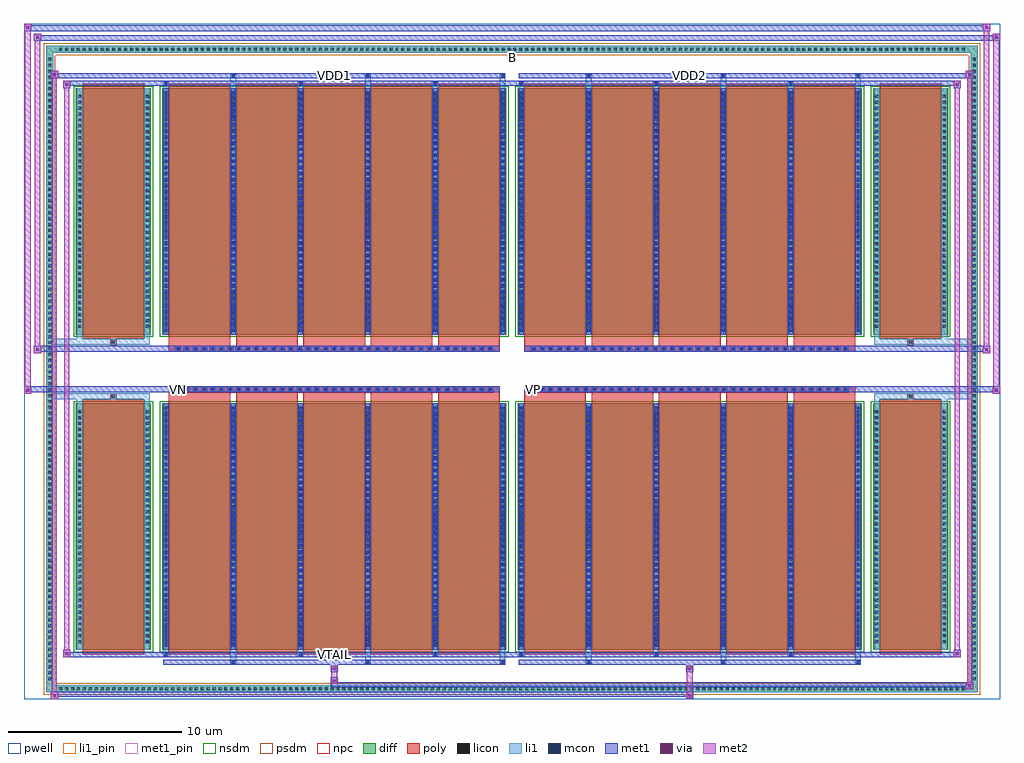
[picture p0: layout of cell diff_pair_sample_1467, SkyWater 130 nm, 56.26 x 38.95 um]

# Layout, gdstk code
import gdstk
lib = gdstk.Library(unit=1e-6, precision=5e-09)
def R(c, l, rs):  # rectangles x0, y0, x1, y1
    for r in rs: c.add(gdstk.rectangle(r[:2], r[2:], *l))
def A(c, l, x, y, w, h, nx, ny, dx, dy):  # array of equal rectangles
    R(c, l, [(x+i*dx, y+j*dy, x+i*dx+w, y+j*dy+h) for i in range(nx) for j in range(ny)])
def P(c, l, *ps):  # polygons
    for p in ps: c.add(gdstk.Polygon(p, *l))
pwell = (64, 44)
diff = (65, 20)
poly = (66, 20)
licon = (66, 44)
li1_pin = (67, 16)
li1 = (67, 20)
mcon = (67, 44)
met1_pin = (68, 16)
met1 = (68, 20)
via = (68, 44)
met2 = (69, 20)
nsdm = (93, 44)
psdm = (94, 20)
npc = (95, 20)

diff_pair_sample_1467 = lib.new_cell('diff_pair_sample_1467')
R(diff_pair_sample_1467, pwell, [(-28.13,-19.04,28.13,19.91), (-25.45,-17.23,-0.01,-0.805), (0.01,-17.23,25.45,-0.805), (-25.45,0.805,-0.01,17.23), (0.01,0.805,25.45,17.23)])
A(diff_pair_sample_1467, diff, -26.215, -18.64, 0.41, 0.41, 154, 2, 0.34, 36.87)
A(diff_pair_sample_1467, diff, -26.86, -18.055, 0.41, 0.41, 1, 106, 0, 0.34)
A(diff_pair_sample_1467, diff, 26.45, -18.055, 0.41, 0.41, 1, 106, 0, 0.34)
R(diff_pair_sample_1467, diff, [(-26.215,-18.64,26.215,-18.23), (-26.86,-18.055,-26.45,18.055), (26.45,-18.055,26.86,18.055), (-25.14,-16.185,-20.81,-1.985), (-20.17,-16.185,-0.32,-1.985), (0.32,-16.185,20.17,-1.985), (20.81,-16.185,25.14,-1.985), (-25.14,1.985,-20.81,16.185), (-20.17,1.985,-0.32,16.185), (0.32,1.985,20.17,16.185), (20.81,1.985,25.14,16.185), (-26.215,18.23,26.215,18.64)])
P(diff_pair_sample_1467, diff, [(26.86,18.64),(-26.86,18.64),(-26.86,-18.23),(-26.45,-18.23),(-26.45,18.23),(26.45,18.23),(26.45,-18.23),(-26.45,-18.23),(-26.86,-18.23),(-26.86,-18.64),(26.86,-18.64)])
A(diff_pair_sample_1467, poly, -19.78, -16.435, 3.55, 14.7, 5, 2, 3.88, 18.17)
A(diff_pair_sample_1467, poly, 0.71, -16.435, 3.55, 14.7, 5, 2, 3.88, 18.17)
A(diff_pair_sample_1467, poly, -19.78, -1.735, 3.55, 0.4, 5, 2, 3.88, 3.07)
A(diff_pair_sample_1467, poly, 0.71, -1.735, 3.55, 0.4, 5, 2, 3.88, 3.07)
A(diff_pair_sample_1467, poly, -19.41, -1.335, 0.33, 0.33, 37, 2, 0.5, 2.34)
A(diff_pair_sample_1467, poly, 1.08, -1.335, 0.33, 0.33, 37, 2, 0.5, 2.34)
R(diff_pair_sample_1467, poly, [(-24.75,-16.435,-21.2,-1.735), (21.2,-16.435,24.75,-1.735), (-23.14,-1.735,-22.81,-1.405), (-23.14,-1.735,-22.81,-1.405), (22.81,-1.735,23.14,-1.405), (22.81,-1.735,23.14,-1.405), (-19.78,-1.335,-0.71,-1.005), (0.71,-1.335,19.78,-1.005), (-19.78,1.005,-0.71,1.335), (0.71,1.005,19.78,1.335), (-23.14,1.405,-22.81,1.735), (-23.14,1.405,-22.81,1.735), (22.81,1.405,23.14,1.735), (22.81,1.405,23.14,1.735), (-24.75,1.735,-21.2,16.435), (21.2,1.735,24.75,16.435)])
A(diff_pair_sample_1467, licon, -26.095, -18.52, 0.17, 0.17, 154, 2, 0.34, 36.87)
A(diff_pair_sample_1467, licon, -26.74, -17.935, 0.17, 0.17, 1, 106, 0, 0.34)
A(diff_pair_sample_1467, licon, 26.57, -17.935, 0.17, 0.17, 1, 106, 0, 0.34)
A(diff_pair_sample_1467, licon, -25, -15.8, 0.17, 0.17, 1, 40, 0, 0.34)
A(diff_pair_sample_1467, licon, -21.12, -15.8, 0.17, 0.17, 1, 40, 0, 0.34)
A(diff_pair_sample_1467, licon, -20.03, -15.8, 0.17, 0.17, 6, 40, 3.88, 0.34)
A(diff_pair_sample_1467, licon, 0.46, -15.8, 0.17, 0.17, 6, 40, 3.88, 0.34)
A(diff_pair_sample_1467, licon, 20.95, -15.8, 0.17, 0.17, 1, 40, 0, 0.34)
A(diff_pair_sample_1467, licon, 24.83, -15.8, 0.17, 0.17, 1, 40, 0, 0.34)
A(diff_pair_sample_1467, licon, -19.33, -1.255, 0.17, 0.17, 37, 2, 0.5, 2.34)
A(diff_pair_sample_1467, licon, 1.16, -1.255, 0.17, 0.17, 37, 2, 0.5, 2.34)
A(diff_pair_sample_1467, licon, -25, 2.37, 0.17, 0.17, 1, 40, 0, 0.34)
A(diff_pair_sample_1467, licon, -21.12, 2.37, 0.17, 0.17, 1, 40, 0, 0.34)
A(diff_pair_sample_1467, licon, -20.03, 2.37, 0.17, 0.17, 6, 40, 3.88, 0.34)
A(diff_pair_sample_1467, licon, 0.46, 2.37, 0.17, 0.17, 6, 40, 3.88, 0.34)
A(diff_pair_sample_1467, licon, 20.95, 2.37, 0.17, 0.17, 1, 40, 0, 0.34)
A(diff_pair_sample_1467, licon, 24.83, 2.37, 0.17, 0.17, 1, 40, 0, 0.34)
R(diff_pair_sample_1467, licon, [(-23.06,-1.655,-22.89,-1.485), (22.89,-1.655,23.06,-1.485), (-23.06,1.485,-22.89,1.655), (22.89,1.485,23.06,1.655)])
R(diff_pair_sample_1467, li1_pin, [(-0.25,17.73,0.25,18.23)])
A(diff_pair_sample_1467, li1, -26.175, -18.6, 0.33, 0.33, 154, 2, 0.34, 36.87)
A(diff_pair_sample_1467, li1, -26.82, -18.015, 0.33, 0.33, 1, 106, 0, 0.34)
A(diff_pair_sample_1467, li1, 26.49, -18.015, 0.33, 0.33, 1, 106, 0, 0.34)
A(diff_pair_sample_1467, li1, -16.23, -16.99, 0.33, 0.805, 3, 2, 7.76, 33.175)
A(diff_pair_sample_1467, li1, -16.15, -16.99, 0.17, 0.17, 3, 2, 7.76, 33.81)
A(diff_pair_sample_1467, li1, 4.26, -16.99, 0.33, 0.805, 3, 2, 7.76, 33.175)
A(diff_pair_sample_1467, li1, 4.34, -16.99, 0.17, 0.17, 3, 2, 7.76, 33.81)
A(diff_pair_sample_1467, li1, -20.11, -16.56, 0.33, 0.375, 3, 2, 7.76, 32.745)
A(diff_pair_sample_1467, li1, -20.03, -16.56, 0.17, 0.17, 3, 2, 7.76, 32.95)
A(diff_pair_sample_1467, li1, 0.38, -16.56, 0.33, 0.375, 3, 2, 7.76, 32.745)
A(diff_pair_sample_1467, li1, 0.46, -16.56, 0.17, 0.17, 3, 2, 7.76, 32.95)
A(diff_pair_sample_1467, li1, -20.11, -16.185, 0.33, 14.2, 6, 2, 3.88, 18.17)
A(diff_pair_sample_1467, li1, 0.38, -16.185, 0.33, 14.2, 6, 2, 3.88, 18.17)
A(diff_pair_sample_1467, li1, -20.03, -16.01, 0.17, 0.17, 6, 39, 3.88, 0.36)
A(diff_pair_sample_1467, li1, -20.03, -16.01, 0.17, 13.85, 6, 2, 3.88, 18.17)
A(diff_pair_sample_1467, li1, 0.46, -16.01, 0.17, 0.17, 6, 39, 3.88, 0.36)
A(diff_pair_sample_1467, li1, 0.46, -16.01, 0.17, 13.85, 6, 2, 3.88, 18.17)
A(diff_pair_sample_1467, li1, -25.08, -15.88, 0.33, 0.33, 1, 40, 0, 0.34)
A(diff_pair_sample_1467, li1, -21.2, -15.88, 0.33, 0.33, 1, 40, 0, 0.34)
A(diff_pair_sample_1467, li1, -20.11, -15.88, 0.33, 0.33, 6, 40, 3.88, 0.34)
A(diff_pair_sample_1467, li1, 0.38, -15.88, 0.33, 0.33, 6, 40, 3.88, 0.34)
A(diff_pair_sample_1467, li1, 20.87, -15.88, 0.33, 0.33, 1, 40, 0, 0.34)
A(diff_pair_sample_1467, li1, 24.75, -15.88, 0.33, 0.33, 1, 40, 0, 0.34)
A(diff_pair_sample_1467, li1, -19.41, -1.335, 0.33, 0.33, 37, 2, 0.5, 2.34)
A(diff_pair_sample_1467, li1, 1.08, -1.335, 0.33, 0.33, 37, 2, 0.5, 2.34)
A(diff_pair_sample_1467, li1, -20.03, 2.16, 0.17, 0.17, 6, 39, 3.88, 0.36)
A(diff_pair_sample_1467, li1, 0.46, 2.16, 0.17, 0.17, 6, 39, 3.88, 0.36)
A(diff_pair_sample_1467, li1, -25.08, 2.29, 0.33, 0.33, 1, 40, 0, 0.34)
A(diff_pair_sample_1467, li1, -21.2, 2.29, 0.33, 0.33, 1, 40, 0, 0.34)
A(diff_pair_sample_1467, li1, -20.11, 2.29, 0.33, 0.33, 6, 40, 3.88, 0.34)
A(diff_pair_sample_1467, li1, 0.38, 2.29, 0.33, 0.33, 6, 40, 3.88, 0.34)
A(diff_pair_sample_1467, li1, 20.87, 2.29, 0.33, 0.33, 1, 40, 0, 0.34)
A(diff_pair_sample_1467, li1, 24.75, 2.29, 0.33, 0.33, 1, 40, 0, 0.34)
R(diff_pair_sample_1467, li1, [(-26.86,-18.64,-26.45,-18.23), (-26.86,-18.64,-26.45,-18.23), (-26.45,-18.64,26.45,-18.23), (26.45,-18.64,26.86,-18.23), (26.45,-18.64,26.86,-18.23), (-26.86,-18.23,-26.45,18.23), (26.45,-18.23,26.86,18.23), (-25.08,-16.185,-24.75,-1.985), (-21.2,-16.185,-20.87,-1.985), (20.87,-16.185,21.2,-1.985), (24.75,-16.185,25.08,-1.985), (-25.08,-1.985,-24.75,-1.405), (-21.2,-1.985,-20.87,-1.405), (20.87,-1.985,21.2,-1.405), (24.75,-1.985,25.08,-1.405), (-26.86,-1.735,-23.14,-1.405), (-25.08,-1.735,-23.14,-1.405), (-23.14,-1.735,-22.81,-1.405), (-22.81,-1.735,-20.87,-1.405), (20.87,-1.735,22.81,-1.405), (22.81,-1.735,23.14,-1.405), (22.81,-1.735,26.86,-1.405), (23.14,-1.735,25.08,-1.405), (-26.86,1.405,-23.14,1.735), (-25.08,1.405,-23.14,1.735), (-25.08,1.405,-24.75,1.985), (-23.14,1.405,-22.81,1.735), (-22.81,1.405,-20.87,1.735), (-21.2,1.405,-20.87,1.985), (20.87,1.405,22.81,1.735), (20.87,1.405,21.2,1.985), (22.81,1.405,23.14,1.735), (22.81,1.405,26.86,1.735), (23.14,1.405,25.08,1.735), (24.75,1.405,25.08,1.985), (-25.08,1.985,-24.75,16.185), (-21.2,1.985,-20.87,16.185), (20.87,1.985,21.2,16.185), (24.75,1.985,25.08,16.185), (-26.86,18.23,-26.45,18.64), (-26.86,18.23,-26.45,18.64), (-26.45,18.23,26.45,18.64), (26.45,18.23,26.86,18.64), (26.45,18.23,26.86,18.64)])
A(diff_pair_sample_1467, mcon, -16.15, -16.99, 0.17, 0.17, 3, 2, 7.76, 33.81)
A(diff_pair_sample_1467, mcon, 4.34, -16.99, 0.17, 0.17, 3, 2, 7.76, 33.81)
A(diff_pair_sample_1467, mcon, -20.03, -16.56, 0.17, 0.17, 3, 2, 7.76, 32.95)
A(diff_pair_sample_1467, mcon, 0.46, -16.56, 0.17, 0.17, 3, 2, 7.76, 32.95)
A(diff_pair_sample_1467, mcon, -20.03, -16.01, 0.17, 0.17, 6, 39, 3.88, 0.36)
A(diff_pair_sample_1467, mcon, 0.46, -16.01, 0.17, 0.17, 6, 39, 3.88, 0.36)
A(diff_pair_sample_1467, mcon, -19.33, -1.255, 0.17, 0.17, 37, 2, 0.5, 2.34)
A(diff_pair_sample_1467, mcon, 1.16, -1.255, 0.17, 0.17, 37, 2, 0.5, 2.34)
A(diff_pair_sample_1467, mcon, -20.03, 2.16, 0.17, 0.17, 6, 39, 3.88, 0.36)
A(diff_pair_sample_1467, mcon, 0.46, 2.16, 0.17, 0.17, 6, 39, 3.88, 0.36)
R(diff_pair_sample_1467, met1_pin, [(-10.38,-16.6,-10.11,-16.33), (-19.38,-1.295,-19.11,-1.025), (1.11,-1.295,1.38,-1.025), (-10.38,16.78,-10.11,17.05), (10.11,16.78,10.38,17.05)])
A(diff_pair_sample_1467, met1, -16.21, -17.05, 0.29, 0.29, 3, 2, 7.76, 33.81)
A(diff_pair_sample_1467, met1, 4.28, -17.05, 0.29, 0.29, 3, 2, 7.76, 33.81)
A(diff_pair_sample_1467, met1, -20.09, -16.62, 0.29, 0.29, 3, 2, 7.76, 32.95)
A(diff_pair_sample_1467, met1, 0.4, -16.62, 0.29, 0.29, 3, 2, 7.76, 32.95)
A(diff_pair_sample_1467, met1, -20.09, -16.185, 0.29, 14.2, 6, 2, 3.88, 18.17)
A(diff_pair_sample_1467, met1, 0.4, -16.185, 0.29, 14.2, 6, 2, 3.88, 18.17)
A(diff_pair_sample_1467, met1, -20.09, -16.07, 0.29, 0.29, 6, 39, 3.88, 0.36)
A(diff_pair_sample_1467, met1, 0.4, -16.07, 0.29, 0.29, 6, 39, 3.88, 0.36)
A(diff_pair_sample_1467, met1, -19.39, -1.315, 0.29, 0.29, 37, 2, 0.5, 2.34)
A(diff_pair_sample_1467, met1, 1.1, -1.315, 0.29, 0.29, 37, 2, 0.5, 2.34)
A(diff_pair_sample_1467, met1, -20.09, 2.1, 0.29, 0.29, 6, 39, 3.88, 0.36)
A(diff_pair_sample_1467, met1, 0.4, 2.1, 0.29, 0.29, 6, 39, 3.88, 0.36)
R(diff_pair_sample_1467, met1, [(-26.59,-19.04,-26.16,-18.61), (10.03,-19.04,10.46,-18.61), (-26.59,-18.9,10.46,-18.61), (26.16,-18.47,26.59,-18.04), (-10.46,-18.33,26.59,-18.04), (-10.46,-18.19,-10.03,-17.76), (-10.46,-17.48,-10.03,-17.05), (10.03,-17.48,10.46,-17.05), (-20.09,-17.05,-0.4,-16.76), (0.4,-17.05,20.09,-16.76), (-25.88,-16.62,-25.45,-16.19), (-25.88,-16.62,-20.09,-16.33), (-20.09,-16.62,-0.4,-16.33), (-0.4,-16.62,0.4,-16.33), (0.4,-16.62,20.09,-16.33), (20.09,-16.62,25.88,-16.33), (25.45,-16.62,25.88,-16.19), (-28.13,-1.435,-27.7,-1.005), (27.7,-1.435,28.13,-1.005), (-28.13,-1.335,-0.71,-1.005), (-19.78,-1.335,-0.71,-1.005), (0.71,-1.335,19.78,-1.005), (0.71,-1.335,28.13,-1.005), (-27.56,0.905,-27.13,1.335), (27.13,0.905,27.56,1.335), (-27.56,1.005,-19.78,1.335), (-19.78,1.005,-0.71,1.335), (0.71,1.005,19.78,1.335), (19.78,1.005,27.56,1.335), (-25.88,16.19,-25.45,16.62), (25.45,16.19,25.88,16.62), (-25.88,16.33,-20.09,16.62), (-20.09,16.33,-0.4,16.62), (-0.4,16.33,0.4,16.62), (0.4,16.33,20.09,16.62), (20.09,16.33,25.88,16.62), (-26.59,16.76,-26.16,17.19), (-26.59,16.76,-20.09,17.05), (-20.09,16.76,-0.4,17.05), (0.4,16.76,20.09,17.05), (20.09,16.76,26.59,17.05), (26.16,16.76,26.59,17.19), (-27.56,18.91,-27.13,19.34), (-27.56,18.91,-25.45,19.24), (-25.45,18.91,25.45,19.24), (25.45,18.91,28.13,19.24), (27.7,18.91,28.13,19.34), (-28.13,19.48,-27.7,19.91), (-28.13,19.48,-25.45,19.81), (-25.45,19.48,25.45,19.81), (25.45,19.48,27.56,19.81), (27.13,19.48,27.56,19.91)])
R(diff_pair_sample_1467, via, [(-26.45,-18.9,-26.3,-18.75), (10.17,-18.9,10.32,-18.75), (26.3,-18.33,26.45,-18.18), (-10.32,-18.05,-10.17,-17.9), (-10.32,-17.34,-10.17,-17.19), (10.17,-17.34,10.32,-17.19), (-25.74,-16.48,-25.59,-16.33), (25.59,-16.48,25.74,-16.33), (-27.99,-1.295,-27.84,-1.145), (27.84,-1.295,27.99,-1.145), (-27.42,1.045,-27.27,1.195), (27.27,1.045,27.42,1.195), (-25.74,16.33,-25.59,16.48), (25.59,16.33,25.74,16.48), (-26.45,16.9,-26.3,17.05), (26.3,16.9,26.45,17.05), (-27.42,19.05,-27.27,19.2), (27.84,19.05,27.99,19.2), (-27.99,19.62,-27.84,19.77), (27.27,19.62,27.42,19.77)])
R(diff_pair_sample_1467, met2, [(-26.59,-19.04,-26.16,-18.61), (-26.52,-19.04,-26.23,17.19), (-26.23,-19.04,-26.16,-18.61), (-26.54,-18.99,-26.21,-18.66), (10.08,-18.99,10.41,-18.66), (10.08,-18.66,10.41,-17.43), (26.16,-18.47,26.59,-18.04), (26.23,-18.47,26.52,17.19), (26.52,-18.47,26.59,-18.04), (26.21,-18.42,26.54,-18.09), (-10.41,-18.14,-10.08,-17.81), (-10.41,-17.81,-10.08,-17.43), (-10.41,-17.43,-10.08,-17.1), (10.08,-17.43,10.41,-17.1), (-25.88,-16.62,-25.45,-16.19), (-25.81,-16.62,-25.52,16.62), (-25.52,-16.62,-25.45,-16.19), (25.45,-16.62,25.88,-16.19), (25.52,-16.62,25.81,16.62), (25.81,-16.62,25.88,-16.19), (-25.83,-16.57,-25.5,-16.24), (25.5,-16.57,25.83,-16.24), (-28.13,-1.435,-27.7,-1.005), (-28.08,-1.435,-27.75,19.91), (-27.75,-1.435,-27.7,-1.005), (27.7,-1.435,28.13,-1.005), (27.75,-1.435,28.08,19.34), (28.08,-1.435,28.13,-1.005), (-28.08,-1.385,-27.75,-1.055), (27.75,-1.385,28.08,-1.055), (-27.56,0.905,-27.13,1.335), (-27.51,0.905,-27.18,19.34), (-27.18,0.905,-27.13,1.335), (27.13,0.905,27.56,1.335), (27.18,0.905,27.51,19.91), (27.51,0.905,27.56,1.335), (-27.51,0.955,-27.18,1.285), (27.18,0.955,27.51,1.285), (-25.88,16.19,-25.45,16.62), (-25.52,16.19,-25.45,16.62), (25.45,16.19,25.88,16.62), (25.81,16.19,25.88,16.62), (-25.83,16.24,-25.5,16.57), (25.5,16.24,25.83,16.57), (-26.59,16.76,-26.16,17.19), (-26.23,16.76,-26.16,17.19), (26.16,16.76,26.59,17.19), (26.52,16.76,26.59,17.19), (-26.54,16.81,-26.21,17.14), (26.21,16.81,26.54,17.14), (-27.56,18.91,-27.13,19.34), (-27.18,18.91,-27.13,19.34), (27.7,18.91,28.13,19.34), (28.08,18.91,28.13,19.34), (-27.51,18.96,-27.18,19.29), (27.75,18.96,28.08,19.29), (-28.13,19.48,-27.7,19.91), (-27.75,19.48,-27.7,19.91), (27.13,19.48,27.56,19.91), (27.51,19.48,27.56,19.91), (-28.08,19.53,-27.75,19.86), (27.18,19.53,27.51,19.86)])
R(diff_pair_sample_1467, nsdm, [(-25.27,-16.315,-20.68,-1.855), (-20.3,-16.315,-0.19,-1.855), (0.19,-16.315,20.3,-1.855), (20.68,-16.315,25.27,-1.855), (-25.27,1.855,-20.68,16.315), (-20.3,1.855,-0.19,16.315), (0.19,1.855,20.3,16.315), (20.68,1.855,25.27,16.315)])
P(diff_pair_sample_1467, psdm, [(26.99,18.77),(-26.99,18.77),(-26.99,-18.1),(-26.32,-18.1),(-26.32,18.1),(26.32,18.1),(26.32,-18.1),(-26.32,-18.1),(-26.99,-18.1),(-26.99,-18.77),(26.99,-18.77)])
A(diff_pair_sample_1467, npc, -19.43, -1.355, 0.37, 0.37, 37, 2, 0.5, 2.34)
A(diff_pair_sample_1467, npc, 1.06, -1.355, 0.37, 0.37, 37, 2, 0.5, 2.34)
R(diff_pair_sample_1467, npc, [(-23.16,-1.755,-22.79,-1.385), (22.79,-1.755,23.16,-1.385), (-19.43,-1.355,-18.56,-0.985), (-19.43,-1.355,-18.56,-0.985), (-18.93,-1.355,-18.06,-0.985), (-18.93,-1.355,-18.06,-0.985), (-18.43,-1.355,-17.56,-0.985), (-18.43,-1.355,-17.56,-0.985), (-17.93,-1.355,-17.06,-0.985), (-17.93,-1.355,-17.06,-0.985), (-17.43,-1.355,-16.56,-0.985), (-17.43,-1.355,-16.56,-0.985), (-16.93,-1.355,-16.06,-0.985), (-16.93,-1.355,-16.06,-0.985), (-16.43,-1.355,-15.56,-0.985), (-16.43,-1.355,-15.56,-0.985), (-15.93,-1.355,-15.06,-0.985), (-15.93,-1.355,-15.06,-0.985), (-15.43,-1.355,-14.56,-0.985), (-15.43,-1.355,-14.56,-0.985), (-14.93,-1.355,-14.06,-0.985), (-14.93,-1.355,-14.06,-0.985), (-14.43,-1.355,-13.56,-0.985), (-14.43,-1.355,-13.56,-0.985), (-13.93,-1.355,-13.06,-0.985), (-13.93,-1.355,-13.06,-0.985), (-13.43,-1.355,-12.56,-0.985), (-13.43,-1.355,-12.56,-0.985), (-12.93,-1.355,-12.06,-0.985), (-12.93,-1.355,-12.06,-0.985), (-12.43,-1.355,-11.56,-0.985), (-12.43,-1.355,-11.56,-0.985), (-11.93,-1.355,-11.06,-0.985), (-11.93,-1.355,-11.06,-0.985), (-11.43,-1.355,-10.56,-0.985), (-11.43,-1.355,-10.56,-0.985), (-10.93,-1.355,-10.06,-0.985), (-10.93,-1.355,-10.06,-0.985), (-10.43,-1.355,-9.56,-0.985), (-10.43,-1.355,-9.56,-0.985), (-9.93,-1.355,-9.06,-0.985), (-9.93,-1.355,-9.06,-0.985), (-9.43,-1.355,-8.56,-0.985), (-9.43,-1.355,-8.56,-0.985), (-8.93,-1.355,-8.06,-0.985), (-8.93,-1.355,-8.06,-0.985), (-8.43,-1.355,-7.56,-0.985), (-8.43,-1.355,-7.56,-0.985), (-7.93,-1.355,-7.06,-0.985), (-7.93,-1.355,-7.06,-0.985), (-7.43,-1.355,-6.56,-0.985), (-7.43,-1.355,-6.56,-0.985), (-6.93,-1.355,-6.06,-0.985), (-6.93,-1.355,-6.06,-0.985), (-6.43,-1.355,-5.56,-0.985), (-6.43,-1.355,-5.56,-0.985), (-5.93,-1.355,-5.06,-0.985), (-5.93,-1.355,-5.06,-0.985), (-5.43,-1.355,-4.56,-0.985), (-5.43,-1.355,-4.56,-0.985), (-4.93,-1.355,-4.06,-0.985), (-4.93,-1.355,-4.06,-0.985), (-4.43,-1.355,-3.56,-0.985), (-4.43,-1.355,-3.56,-0.985), (-3.93,-1.355,-3.06,-0.985), (-3.93,-1.355,-3.06,-0.985), (-3.43,-1.355,-2.56,-0.985), (-3.43,-1.355,-2.56,-0.985), (-2.93,-1.355,-2.06,-0.985), (-2.93,-1.355,-2.06,-0.985), (-2.43,-1.355,-1.56,-0.985), (-2.43,-1.355,-1.56,-0.985), (-1.93,-1.355,-1.06,-0.985), (-1.93,-1.355,-1.06,-0.985), (1.06,-1.355,1.93,-0.985), (1.06,-1.355,1.93,-0.985), (1.56,-1.355,2.43,-0.985), (1.56,-1.355,2.43,-0.985), (2.06,-1.355,2.93,-0.985), (2.06,-1.355,2.93,-0.985), (2.56,-1.355,3.43,-0.985), (2.56,-1.355,3.43,-0.985), (3.06,-1.355,3.93,-0.985), (3.06,-1.355,3.93,-0.985), (3.56,-1.355,4.43,-0.985), (3.56,-1.355,4.43,-0.985), (4.06,-1.355,4.93,-0.985), (4.06,-1.355,4.93,-0.985), (4.56,-1.355,5.43,-0.985), (4.56,-1.355,5.43,-0.985), (5.06,-1.355,5.93,-0.985), (5.06,-1.355,5.93,-0.985), (5.56,-1.355,6.43,-0.985), (5.56,-1.355,6.43,-0.985), (6.06,-1.355,6.93,-0.985), (6.06,-1.355,6.93,-0.985), (6.56,-1.355,7.43,-0.985), (6.56,-1.355,7.43,-0.985), (7.06,-1.355,7.93,-0.985), (7.06,-1.355,7.93,-0.985), (7.56,-1.355,8.43,-0.985), (7.56,-1.355,8.43,-0.985), (8.06,-1.355,8.93,-0.985), (8.06,-1.355,8.93,-0.985), (8.56,-1.355,9.43,-0.985), (8.56,-1.355,9.43,-0.985), (9.06,-1.355,9.93,-0.985), (9.06,-1.355,9.93,-0.985), (9.56,-1.355,10.43,-0.985), (9.56,-1.355,10.43,-0.985), (10.06,-1.355,10.93,-0.985), (10.06,-1.355,10.93,-0.985), (10.56,-1.355,11.43,-0.985), (10.56,-1.355,11.43,-0.985), (11.06,-1.355,11.93,-0.985), (11.06,-1.355,11.93,-0.985), (11.56,-1.355,12.43,-0.985), (11.56,-1.355,12.43,-0.985), (12.06,-1.355,12.93,-0.985), (12.06,-1.355,12.93,-0.985), (12.56,-1.355,13.43,-0.985), (12.56,-1.355,13.43,-0.985), (13.06,-1.355,13.93,-0.985), (13.06,-1.355,13.93,-0.985), (13.56,-1.355,14.43,-0.985), (13.56,-1.355,14.43,-0.985), (14.06,-1.355,14.93,-0.985), (14.06,-1.355,14.93,-0.985), (14.56,-1.355,15.43,-0.985), (14.56,-1.355,15.43,-0.985), (15.06,-1.355,15.93,-0.985), (15.06,-1.355,15.93,-0.985), (15.56,-1.355,16.43,-0.985), (15.56,-1.355,16.43,-0.985), (16.06,-1.355,16.93,-0.985), (16.06,-1.355,16.93,-0.985), (16.56,-1.355,17.43,-0.985), (16.56,-1.355,17.43,-0.985), (17.06,-1.355,17.93,-0.985), (17.06,-1.355,17.93,-0.985), (17.56,-1.355,18.43,-0.985), (17.56,-1.355,18.43,-0.985), (18.06,-1.355,18.93,-0.985), (18.06,-1.355,18.93,-0.985), (18.56,-1.355,19.43,-0.985), (18.56,-1.355,19.43,-0.985), (-19.43,0.985,-18.56,1.355), (-19.43,0.985,-18.56,1.355), (-18.93,0.985,-18.06,1.355), (-18.93,0.985,-18.06,1.355), (-18.43,0.985,-17.56,1.355), (-18.43,0.985,-17.56,1.355), (-17.93,0.985,-17.06,1.355), (-17.93,0.985,-17.06,1.355), (-17.43,0.985,-16.56,1.355), (-17.43,0.985,-16.56,1.355), (-16.93,0.985,-16.06,1.355), (-16.93,0.985,-16.06,1.355), (-16.43,0.985,-15.56,1.355), (-16.43,0.985,-15.56,1.355), (-15.93,0.985,-15.06,1.355), (-15.93,0.985,-15.06,1.355), (-15.43,0.985,-14.56,1.355), (-15.43,0.985,-14.56,1.355), (-14.93,0.985,-14.06,1.355), (-14.93,0.985,-14.06,1.355), (-14.43,0.985,-13.56,1.355), (-14.43,0.985,-13.56,1.355), (-13.93,0.985,-13.06,1.355), (-13.93,0.985,-13.06,1.355), (-13.43,0.985,-12.56,1.355), (-13.43,0.985,-12.56,1.355), (-12.93,0.985,-12.06,1.355), (-12.93,0.985,-12.06,1.355), (-12.43,0.985,-11.56,1.355), (-12.43,0.985,-11.56,1.355), (-11.93,0.985,-11.06,1.355), (-11.93,0.985,-11.06,1.355), (-11.43,0.985,-10.56,1.355), (-11.43,0.985,-10.56,1.355), (-10.93,0.985,-10.06,1.355), (-10.93,0.985,-10.06,1.355), (-10.43,0.985,-9.56,1.355), (-10.43,0.985,-9.56,1.355), (-9.93,0.985,-9.06,1.355), (-9.93,0.985,-9.06,1.355), (-9.43,0.985,-8.56,1.355), (-9.43,0.985,-8.56,1.355), (-8.93,0.985,-8.06,1.355), (-8.93,0.985,-8.06,1.355), (-8.43,0.985,-7.56,1.355), (-8.43,0.985,-7.56,1.355), (-7.93,0.985,-7.06,1.355), (-7.93,0.985,-7.06,1.355), (-7.43,0.985,-6.56,1.355), (-7.43,0.985,-6.56,1.355), (-6.93,0.985,-6.06,1.355), (-6.93,0.985,-6.06,1.355), (-6.43,0.985,-5.56,1.355), (-6.43,0.985,-5.56,1.355), (-5.93,0.985,-5.06,1.355), (-5.93,0.985,-5.06,1.355), (-5.43,0.985,-4.56,1.355), (-5.43,0.985,-4.56,1.355), (-4.93,0.985,-4.06,1.355), (-4.93,0.985,-4.06,1.355), (-4.43,0.985,-3.56,1.355), (-4.43,0.985,-3.56,1.355), (-3.93,0.985,-3.06,1.355), (-3.93,0.985,-3.06,1.355), (-3.43,0.985,-2.56,1.355), (-3.43,0.985,-2.56,1.355), (-2.93,0.985,-2.06,1.355), (-2.93,0.985,-2.06,1.355), (-2.43,0.985,-1.56,1.355), (-2.43,0.985,-1.56,1.355), (-1.93,0.985,-1.06,1.355), (-1.93,0.985,-1.06,1.355), (1.06,0.985,1.93,1.355), (1.06,0.985,1.93,1.355), (1.56,0.985,2.43,1.355), (1.56,0.985,2.43,1.355), (2.06,0.985,2.93,1.355), (2.06,0.985,2.93,1.355), (2.56,0.985,3.43,1.355), (2.56,0.985,3.43,1.355), (3.06,0.985,3.93,1.355), (3.06,0.985,3.93,1.355), (3.56,0.985,4.43,1.355), (3.56,0.985,4.43,1.355), (4.06,0.985,4.93,1.355), (4.06,0.985,4.93,1.355), (4.56,0.985,5.43,1.355), (4.56,0.985,5.43,1.355), (5.06,0.985,5.93,1.355), (5.06,0.985,5.93,1.355), (5.56,0.985,6.43,1.355), (5.56,0.985,6.43,1.355), (6.06,0.985,6.93,1.355), (6.06,0.985,6.93,1.355), (6.56,0.985,7.43,1.355), (6.56,0.985,7.43,1.355), (7.06,0.985,7.93,1.355), (7.06,0.985,7.93,1.355), (7.56,0.985,8.43,1.355), (7.56,0.985,8.43,1.355), (8.06,0.985,8.93,1.355), (8.06,0.985,8.93,1.355), (8.56,0.985,9.43,1.355), (8.56,0.985,9.43,1.355), (9.06,0.985,9.93,1.355), (9.06,0.985,9.93,1.355), (9.56,0.985,10.43,1.355), (9.56,0.985,10.43,1.355), (10.06,0.985,10.93,1.355), (10.06,0.985,10.93,1.355), (10.56,0.985,11.43,1.355), (10.56,0.985,11.43,1.355), (11.06,0.985,11.93,1.355), (11.06,0.985,11.93,1.355), (11.56,0.985,12.43,1.355), (11.56,0.985,12.43,1.355), (12.06,0.985,12.93,1.355), (12.06,0.985,12.93,1.355), (12.56,0.985,13.43,1.355), (12.56,0.985,13.43,1.355), (13.06,0.985,13.93,1.355), (13.06,0.985,13.93,1.355), (13.56,0.985,14.43,1.355), (13.56,0.985,14.43,1.355), (14.06,0.985,14.93,1.355), (14.06,0.985,14.93,1.355), (14.56,0.985,15.43,1.355), (14.56,0.985,15.43,1.355), (15.06,0.985,15.93,1.355), (15.06,0.985,15.93,1.355), (15.56,0.985,16.43,1.355), (15.56,0.985,16.43,1.355), (16.06,0.985,16.93,1.355), (16.06,0.985,16.93,1.355), (16.56,0.985,17.43,1.355), (16.56,0.985,17.43,1.355), (17.06,0.985,17.93,1.355), (17.06,0.985,17.93,1.355), (17.56,0.985,18.43,1.355), (17.56,0.985,18.43,1.355), (18.06,0.985,18.93,1.355), (18.06,0.985,18.93,1.355), (18.56,0.985,19.43,1.355), (18.56,0.985,19.43,1.355), (-23.16,1.385,-22.79,1.755), (22.79,1.385,23.16,1.755)])
diff_pair_sample_1467.add(gdstk.Label('VTAIL', (-10.245,-16.465), layer=68, texttype=5))
diff_pair_sample_1467.add(gdstk.Label('VN', (-19.245,-1.16), layer=68, texttype=5))
diff_pair_sample_1467.add(gdstk.Label('VP', (1.245,-1.16), layer=68, texttype=5))
diff_pair_sample_1467.add(gdstk.Label('B', (0,17.98), layer=67, texttype=5))
diff_pair_sample_1467.add(gdstk.Label('VDD2', (10.245,16.915), layer=68, texttype=5))
diff_pair_sample_1467.add(gdstk.Label('VDD1', (-10.245,16.915), layer=68, texttype=5))

lib.write_gds('diff_pair_sample_1467.gds')
